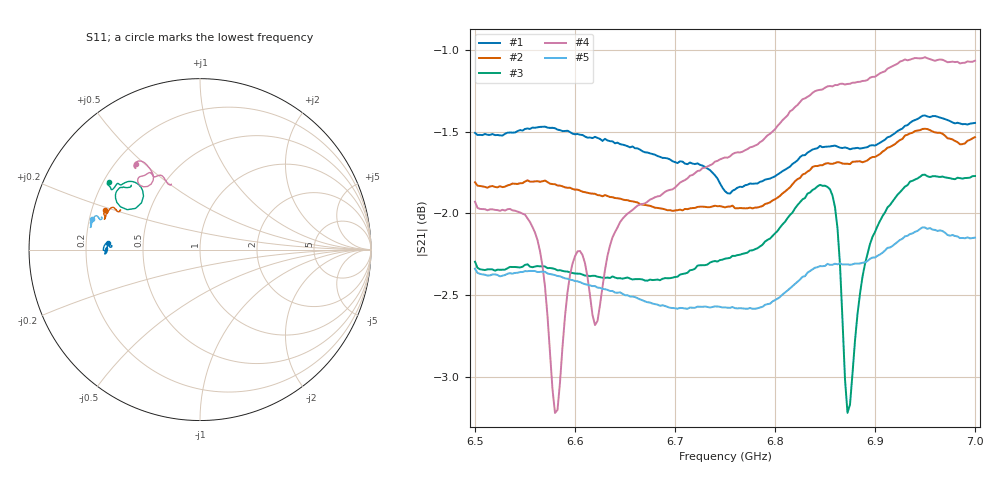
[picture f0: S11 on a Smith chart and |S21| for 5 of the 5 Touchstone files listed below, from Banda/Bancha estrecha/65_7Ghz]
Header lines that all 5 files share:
! MS46122B
! 1919307/90821646
! CHANNEL.1
! TR.MEASUREMENT
! CORRECTED.DATA
# GHZ S RI R 50.0
! FREQ.GHZ  S11RE  S11IM  S21RE  S21IM  S12RE  S12IM  S22RE  S22IM
!; PortSelection: Port_12
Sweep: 6.5 GHz to 7 GHz
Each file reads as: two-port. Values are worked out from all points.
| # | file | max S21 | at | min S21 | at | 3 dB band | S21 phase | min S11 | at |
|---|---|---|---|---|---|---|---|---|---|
| 1 | s11_s21_abs3_1002cLD.s2p | -1.40 dB | 6.95 GHz | -1.9 dB | 6.755 GHz | 6.5 GHz-7 GHz | -92 deg at 6.75 GHz | -5.8 dB | 6.975 GHz |
| 2 | s11_s21_abs8_502cLD.s2p | -1.48 dB | 6.95 GHz | -2.0 dB | 6.697 GHz | 6.5 GHz-7 GHz | -110 deg at 6.75 GHz | -5.7 dB | 6.992 GHz |
| 3 | s11_s21_abs8_1002cLD.s2p | -1.76 dB | 6.95 GHz | -3.2 dB | 6.872 GHz | 6.5 GHz-7 GHz | -129 deg at 6.75 GHz | -7.2 dB | 6.867 GHz |
| 4 | s11_s21_abs10_1002cLD.s2p | -1.05 dB | 6.95 GHz | -3.2 dB | 6.58 GHz | 6.5 GHz-7 GHz | -142 deg at 6.75 GHz | -7.6 dB | 6.975 GHz |
| 5 | s11_s21_abs44_1002cLD.s2p | -2.09 dB | 6.947 GHz | -2.6 dB | 6.713 GHz | 6.5 GHz-7 GHz | -107 deg at 6.75 GHz | -4.4 dB | 6.975 GHz |
